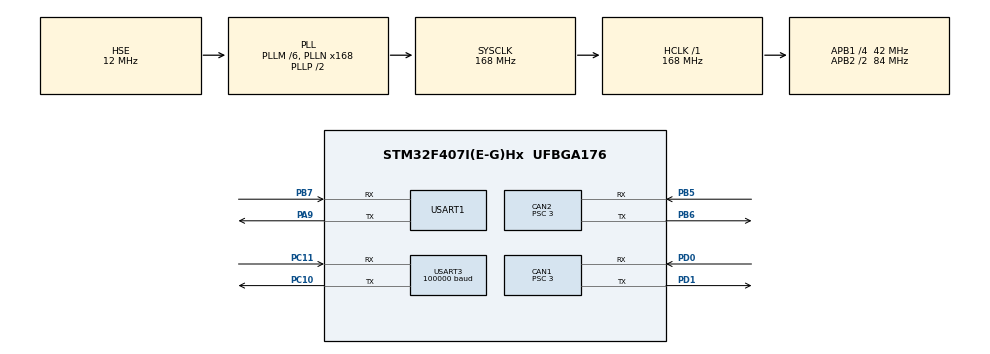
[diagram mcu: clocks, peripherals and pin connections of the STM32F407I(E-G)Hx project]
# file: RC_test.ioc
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CAN1.BS1=CAN_BS1_10TQ
CAN1.BS2=CAN_BS2_3TQ
CAN1.CalculateBaudRate=1000000
CAN1.CalculateTimeBit=1000
CAN1.CalculateTimeQuantum=71.42857142857143
CAN1.Prescaler=3
CAN2.BS1=CAN_BS1_10TQ
CAN2.BS2=CAN_BS2_3TQ
CAN2.CalculateBaudRate=1000000
CAN2.CalculateTimeBit=1000
CAN2.CalculateTimeQuantum=71.42857142857143
CAN2.Prescaler=3
Dma.Request0=USART1_TX
Dma.Request1=USART3_RX
Dma.USART1_TX.0.Direction=DMA_MEMORY_TO_PERIPH
Dma.USART1_TX.0.FIFOMode=DMA_FIFOMODE_DISABLE
Dma.USART1_TX.0.Instance=DMA2_Stream7
Dma.USART1_TX.0.MemDataAlignment=DMA_MDATAALIGN_BYTE
Dma.USART1_TX.0.MemInc=DMA_MINC_ENABLE
Dma.USART1_TX.0.Mode=DMA_NORMAL
Dma.USART1_TX.0.PeriphDataAlignment=DMA_PDATAALIGN_BYTE
Dma.USART1_TX.0.PeriphInc=DMA_PINC_DISABLE
Dma.USART1_TX.0.Priority=DMA_PRIORITY_VERY_HIGH
Dma.USART3_RX.1.Direction=DMA_PERIPH_TO_MEMORY
Dma.USART3_RX.1.FIFOMode=DMA_FIFOMODE_DISABLE
Dma.USART3_RX.1.Instance=DMA1_Stream1
Dma.USART3_RX.1.MemDataAlignment=DMA_MDATAALIGN_BYTE
Dma.USART3_RX.1.MemInc=DMA_MINC_ENABLE
Dma.USART3_RX.1.Mode=DMA_CIRCULAR
Dma.USART3_RX.1.PeriphDataAlignment=DMA_PDATAALIGN_BYTE
Dma.USART3_RX.1.PeriphInc=DMA_PINC_DISABLE
Dma.USART3_RX.1.Priority=DMA_PRIORITY_VERY_HIGH
Mcu.Family=STM32F4
Mcu.Name=STM32F407I(E-G)Hx
Mcu.Package=UFBGA176
NVIC.CAN1_RX0_IRQn=true\:0\:0\:false\:false\:true\:true\:true
NVIC.CAN2_RX0_IRQn=true\:0\:0\:false\:false\:true\:true\:true
NVIC.DMA1_Stream1_IRQn=true\:0\:0\:false\:false\:true\:false\:true
NVIC.DMA2_Stream7_IRQn=true\:0\:0\:false\:false\:true\:false\:true
NVIC.PriorityGroup=NVIC_PRIORITYGROUP_4
PA13.Mode=Serial_Wire
PA13.Signal=SYS_JTMS-SWDIO
PA14.Mode=Serial_Wire
PA14.Signal=SYS_JTCK-SWCLK
PA9.Mode=Asynchronous
PA9.Signal=USART1_TX
PB5.Mode=CAN_Activate
PB5.Signal=CAN2_RX
PB6.Mode=CAN_Activate
PB6.Signal=CAN2_TX
PB7.Mode=Asynchronous
PB7.Signal=USART1_RX
PC10.Mode=Asynchronous
PC10.Signal=USART3_TX
PC11.Mode=Asynchronous
PC11.Signal=USART3_RX
PD0.Mode=CAN_Activate
PD0.Signal=CAN1_RX
PD1.Mode=CAN_Activate
PD1.Signal=CAN1_TX
PH0-OSC_IN.Mode=HSE-External-Oscillator
PH0-OSC_IN.Signal=RCC_OSC_IN
PH1-OSC_OUT.Mode=HSE-External-Oscillator
PH1-OSC_OUT.Signal=RCC_OSC_OUT
ProjectManager.HeapSize=0x200
ProjectManager.StackSize=0x400
ProjectManager.TargetToolchain=MDK-ARM V5.27
RCC.48MHZClocksFreq_Value=84000000
RCC.AHBFreq_Value=168000000
RCC.APB1CLKDivider=RCC_HCLK_DIV4
RCC.APB1Freq_Value=42000000
RCC.APB1TimFreq_Value=84000000
RCC.APB2CLKDivider=RCC_HCLK_DIV2
RCC.APB2Freq_Value=84000000
RCC.APB2TimFreq_Value=168000000
RCC.CortexFreq_Value=168000000
RCC.HCLKFreq_Value=168000000
RCC.HSE_VALUE=12000000
RCC.HSI_VALUE=16000000
RCC.LSE_VALUE=32768
RCC.PLLM=6
RCC.PLLN=168
RCC.PLLSourceVirtual=RCC_PLLSOURCE_HSE
RCC.SYSCLKFreq_VALUE=168000000
RCC.SYSCLKSource=RCC_SYSCLKSOURCE_PLLCLK
RCC.VCOOutputFreq_Value=336000000
USART1.VirtualMode=VM_ASYNC
USART3.BaudRate=100000
USART3.Parity=PARITY_EVEN
USART3.VirtualMode=VM_ASYNC
board=custom

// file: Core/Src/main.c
/* USER CODE BEGIN Header */
/**
  ******************************************************************************
  * @file           : main.c
  * @brief          : Main program body
  ******************************************************************************
  * @attention
  *
  * <h2><center>&copy; Copyright (c) 2022 STMicroelectronics.
  * All rights reserved.</center></h2>
  *
  * This software component is licensed by ST under BSD 3-Clause license,
  * the "License"; You may not use this file except in compliance with the
  * License. You may obtain a copy of the License at:
  *                        opensource.org/licenses/BSD-3-Clause
  *
  ******************************************************************************
  */
/* USER CODE END Header */
#include "main.h"
#include "can.h"
#include "dma.h"
#include "usart.h"
#include "gpio.h"

/* USER CODE BEGIN Includes */
#include "bsp_can.h"
#include "CAN_receive.h"
#include "pid.h"
/* USER CODE END Includes */

/* USER CODE BEGIN PV */
RC_ctrl_t RC_ctrl;
uint8_t sbus_rx_buffer[18];
int mode_forward = 0;
int mode_right = 0;
pid_type_def motor_pid[4];
int set_speed = 0;
const fp32 PID[3]={5,0,0};
chassis_motor_t motor_chassis[4];
int i = 0;
/* USER CODE END PV */

void SystemClock_Config(void);

int main(void)

{

  /* MCU Configuration--------------------------------------------------------*/

  /* Reset of all peripherals, Initializes the Flash interface and the Systick. */
  HAL_Init();

  /* Configure the system clock */
  SystemClock_Config();

  /* Initialize all configured peripherals */
  MX_GPIO_Init();
  MX_DMA_Init();
  MX_USART1_UART_Init();
  MX_USART3_UART_Init();
  MX_CAN1_Init();
  MX_CAN2_Init();

  /* USER CODE BEGIN 2 */
	HAL_UART_Receive_DMA(&huart3,sbus_rx_buffer,18);
	can_filter_init();

	for(i=0;i<4;i++)
{
	motor_chassis[i].chassis_motor_measure = get_chassis_motor_measure_point(i);
	PID_init(&motor_pid[i],PID_POSITION,PID,10000,2000);
	motor_pid[i].out=0;
}

  /* USER CODE END 2 */

  /* Infinite loop */
  while (1)
  {
		set_speed = mode_forward*13;
		for(i = 0;i<4;i++)
		{
		PID_calc(&motor_pid[i],motor_chassis[i].chassis_motor_measure->speed_rpm,set_speed);
		}
		CAN_cmd_chassis(motor_pid[0].out,motor_pid[1].out,-motor_pid[2].out,-motor_pid[3].out);

		HAL_Delay(2);
  }
}

void SystemClock_Config(void)
{
  RCC_OscInitTypeDef RCC_OscInitStruct = {0};
  RCC_ClkInitTypeDef RCC_ClkInitStruct = {0};

  /** Configure the main internal regulator output voltage
  */
  __HAL_RCC_PWR_CLK_ENABLE();
  __HAL_PWR_VOLTAGESCALING_CONFIG(PWR_REGULATOR_VOLTAGE_SCALE1);
  /** Initializes the RCC Oscillators according to the specified parameters
  * in the RCC_OscInitTypeDef structure.
  */
  RCC_OscInitStruct.OscillatorType = RCC_OSCILLATORTYPE_HSE;
  RCC_OscInitStruct.HSEState = RCC_HSE_ON;
  RCC_OscInitStruct.PLL.PLLState = RCC_PLL_ON;
  RCC_OscInitStruct.PLL.PLLSource = RCC_PLLSOURCE_HSE;
  RCC_OscInitStruct.PLL.PLLM = 6;
  RCC_OscInitStruct.PLL.PLLN = 168;
  RCC_OscInitStruct.PLL.PLLP = RCC_PLLP_DIV2;
  RCC_OscInitStruct.PLL.PLLQ = 4;
  if (HAL_RCC_OscConfig(&RCC_OscInitStruct) != HAL_OK)
  {
    Error_Handler();
  }
  /** Initializes the CPU, AHB and APB buses clocks
  */
  RCC_ClkInitStruct.ClockType = RCC_CLOCKTYPE_HCLK|RCC_CLOCKTYPE_SYSCLK
                              |RCC_CLOCKTYPE_PCLK1|RCC_CLOCKTYPE_PCLK2;
  RCC_ClkInitStruct.SYSCLKSource = RCC_SYSCLKSOURCE_PLLCLK;
  RCC_ClkInitStruct.AHBCLKDivider = RCC_SYSCLK_DIV1;
  RCC_ClkInitStruct.APB1CLKDivider = RCC_HCLK_DIV4;
  RCC_ClkInitStruct.APB2CLKDivider = RCC_HCLK_DIV2;

  if (HAL_RCC_ClockConfig(&RCC_ClkInitStruct, FLASH_LATENCY_5) != HAL_OK)
  {
    Error_Handler();
  }
}

/* USER CODE BEGIN 4 */
void HAL_UART_RxCpltCallback(UART_HandleTypeDef *UartHandle)
{
	  RC_ctrl.rc.ch[0] = (sbus_rx_buffer[0] | (sbus_rx_buffer[1] << 8)) & 0x07ff;        //!< Channel 0
    RC_ctrl.rc.ch[1] = ((sbus_rx_buffer[1] >> 3) | (sbus_rx_buffer[2] << 5)) & 0x07ff; //!< Channel 1
    RC_ctrl.rc.ch[2] = ((sbus_rx_buffer[2] >> 6) | (sbus_rx_buffer[3] << 2) |          //!< Channel 2
                         (sbus_rx_buffer[4] << 10)) &0x07ff;
    RC_ctrl.rc.ch[3] = ((sbus_rx_buffer[4] >> 1) | (sbus_rx_buffer[5] << 7)) & 0x07ff; //!< Channel 3
    RC_ctrl.rc.s[0] = ((sbus_rx_buffer[5] >> 4) & 0x0003);                  //!< Switch left
    RC_ctrl.rc.s[1] = ((sbus_rx_buffer[5] >> 4) & 0x000C) >> 2;                       //!< Switch right
    RC_ctrl.mouse.x = sbus_rx_buffer[6] | (sbus_rx_buffer[7] << 8);                    //!< Mouse X axis
    RC_ctrl.mouse.y = sbus_rx_buffer[8] | (sbus_rx_buffer[9] << 8);                    //!< Mouse Y axis
    RC_ctrl.mouse.z = sbus_rx_buffer[10] | (sbus_rx_buffer[11] << 8);                  //!< Mouse Z axis
    RC_ctrl.mouse.press_l = sbus_rx_buffer[12];                                  //!< Mouse Left Is Press ?
    RC_ctrl.mouse.press_r = sbus_rx_buffer[13];                                  //!< Mouse Right Is Press ?
    RC_ctrl.key.v = sbus_rx_buffer[14] | (sbus_rx_buffer[15] << 8);                    //!< KeyBoard value

		RC_ctrl.rc.ch[0] -=1024;
		RC_ctrl.rc.ch[1] -=1024;
		RC_ctrl.rc.ch[2] -=1024;
		RC_ctrl.rc.ch[3] -=1024;

		mode_forward=RC_ctrl.rc.ch[0];
		mode_right=RC_ctrl.rc.ch[1];
}
/* USER CODE END 4 */

void Error_Handler(void)
{
  __disable_irq();
  while (1)
  {
  }
}

/************************ (C) COPYRIGHT STMicroelectronics *****END OF FILE****/
